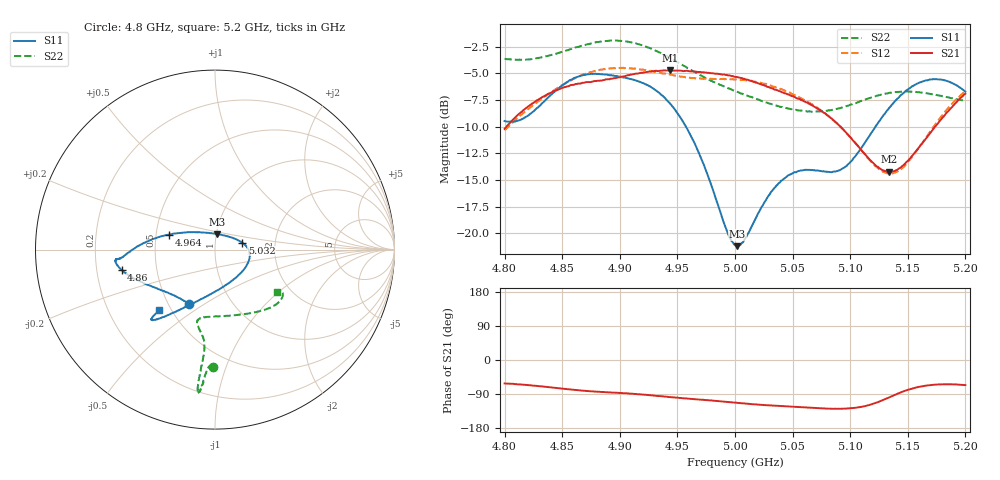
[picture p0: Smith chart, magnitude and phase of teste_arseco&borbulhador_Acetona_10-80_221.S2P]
! Network Analyzer HP8722D
! Hewlett-Packard
! Data name: Linha & Wilkinson
! Saver's name: Rodrigo Anjos
! Comments: Teste da utilização de aquisição
! continua pelo VNA HP8722D
! Time and date: 17/4/2025 16:12
!  Frequency  S11  S21  S12  S22
# HZ  S  MA R 50
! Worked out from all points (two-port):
!   401 points, 4.8 GHz to 5.2 GHz, reference 50 ohm
!   highest |S21| = -4.71 dB at 4.944 GHz (marker M1); lowest = -14.2 dB at 5.134 GHz (marker M2)
!   |S21| within 3 dB of the highest: 4.826 GHz to 5.062 GHz (235.7 MHz wide, 4.77 % of centre); 5.192303 GHz to end of sweep
!   lowest |S11| = -21.2 dB at 5.002 GHz (marker M3), VSWR 1.19, Z = 50.6 + j8.78 ohm
!   |S11| at or under -10 dB: 4.957 GHz to 5.122 GHz (164.5 MHz wide, 3.26 % of centre)
!   |S22| runs from -8.6 to -1.9 dB; largest |S21 - S12| = 0.87
!   S11 on the Smith chart (normalised r, x): 4.8 GHz: 0.63, -0.43; 4.86 GHz: 0.31, -0.10; 4.964 GHz: 0.58, +0.11; 5.032 GHz: 1.36, +0.11; 5.2 GHz: 0.43, -0.37
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4.8e9  0.336 -116.0  0.3087 -62.0  0.3043 -176.1  0.6568 -91.1
4.818e9  0.3498 -135.1  0.3839 -65.6  0.3735 -175.6  0.6503 -92.7
4.86e9  0.5331 -167.7  0.4962 -78.6  0.5286 -178.8  0.7372 -95.1
4.867e9  0.5488 -170.4  0.5062 -80.8  0.5504 180.0  0.7572 -95.4
4.899e9  0.5417 -174.6  0.5377 -87.0  0.5943 173.5  0.797 -96.7
4.934e9  0.4561 179.8  0.5767 -95.2  0.5685 170.4  0.7047 -97.0
4.944e9  0.4034 175.1  0.5815 -98.1  0.5528 170.6  0.6614 -96.7
4.964e9  0.2703 162.0  0.5718 -103.1  0.534 172.4  0.5738 -96.1
4.993e9  0.1028 114.2  0.5518 -110.6  0.5291 174.6  0.4818 -98.6
5e9  0.08792 88.9  0.5404 -112.6  0.5263 174.8  0.4646 -99.9
5.002e9  0.0871 80.9  0.5399 -113.2  0.5252 174.7  0.4605 -100.3
5.009e9  0.09502 55.8  0.5272 -115.0  0.5226 174.6  0.4448 -101.9
5.032e9  0.1579 14.1  0.4787 -120.1  0.49 173.5  0.4029 -103.5
5.048e9  0.1891 -1.5  0.4428 -122.7  0.456 172.8  0.3822 -99.5
5.067e9  0.1982 -21.7  0.3978 -126.2  0.4025 172.4  0.3714 -89.0
5.097e9  0.2071 -74.2  0.2941 -128.1  0.2951 174.9  0.3947 -65.6
5.121e9  0.3101 -110.2  0.211 -114.7  0.2084 -169.6  0.4376 -49.6
5.134e9  0.3877 -120.3  0.1943 -98.5  0.1905 -151.5  0.4551 -43.2
5.146e9  0.4539 -126.0  0.208 -83.0  0.204 -133.6  0.4617 -38.7
5.167e9  0.5209 -131.2  0.2831 -67.1  0.2868 -113.7  0.4522 -33.3
5.183e9  0.5193 -132.7  0.3631 -64.1  0.3751 -108.6  0.4355 -32.1
5.2e9  0.4608 -132.7  0.4512 -66.3  0.4636 -108.3  0.4166 -34.6
